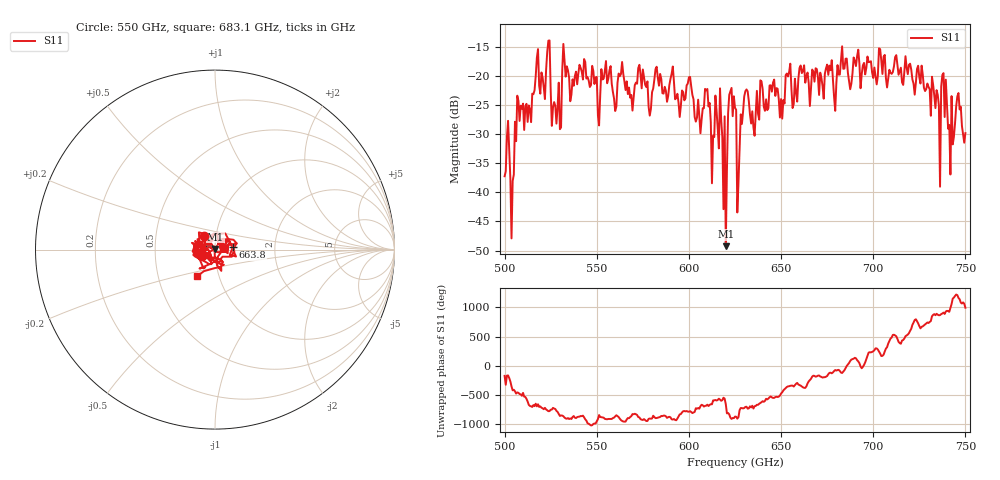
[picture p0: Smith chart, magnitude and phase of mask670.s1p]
!Created with skrf (http://scikit-rf.org).
# GHz S MA R 50.0
!freq magS11 angS11
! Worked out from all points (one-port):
!   401 points, 500 GHz to 750 GHz, reference 50 ohm
!   lowest |S11| = -49.2 dB at 620 GHz (marker M1), VSWR 1.01, Z = 50.2 + j0.303 ohm
!   |S11| at or under -10 dB: start of sweep to end of sweep
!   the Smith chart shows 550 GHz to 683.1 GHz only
!   S11 on the Smith chart (normalised r, x): 550 GHz: 0.88, +0.14; 663.8 GHz: 1.22, +0.03; 683.1 GHz: 0.79, -0.24
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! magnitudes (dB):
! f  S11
! 500 GHz  -37.2
! 501.9 GHz  -27.7
! 503.8 GHz  -47.9
! 506.9 GHz  -23.4
! 517.5 GHz  -16.9
! 523.8 GHz  -14.0
! 526.9 GHz  -24.5
! 531.2 GHz  -19.2
! 550 GHz  -20.2
! 562.5 GHz  -20.1
! 593.8 GHz  -23.1
! 610 GHz  -22.2
! 620 GHz  -49.2
! 622.5 GHz  -22.7
! 625 GHz  -25.5
! 627.5 GHz  -32.6
! 631.2 GHz  -22.3
! 635 GHz  -28.8
! 656.2 GHz  -25.5
! 663.8 GHz  -20.0
! 683.1 GHz  -14.9
! 687.5 GHz  -22.3
! 718.8 GHz  -19.7
! 735 GHz  -23.3
! 738.1 GHz  -19.5
! 742.5 GHz  -23.5
! 746.2 GHz  -22.9
! 750 GHz  -29.8
